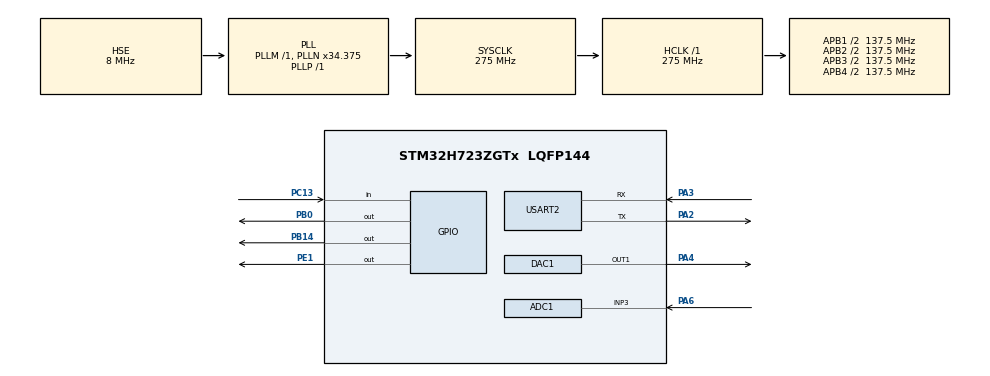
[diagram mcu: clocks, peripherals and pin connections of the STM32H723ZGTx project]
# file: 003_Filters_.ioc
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ADC1.Channel-3\#ChannelRegularConversion=ADC_CHANNEL_3
ADC1.ClockPrescaler=ADC_CLOCK_ASYNC_DIV2
ADC1.ContinuousConvMode=ENABLE
ADC1.ConversionDataManagement=ADC_CONVERSIONDATA_DMA_CIRCULAR
ADC1.EnableInjectedConversion=DISABLE
ADC1.EnableRegularConversion=ENABLE
ADC1.ExternalTrigConv=ADC_EXTERNALTRIG_T4_TRGO
ADC1.NbrOfConversionFlag=1
ADC1.OffsetNumber-3\#ChannelRegularConversion=ADC_OFFSET_NONE
ADC1.OffsetSignedSaturation-3\#ChannelRegularConversion=DISABLE
ADC1.OversamplingMode=DISABLE
ADC1.Rank-3\#ChannelRegularConversion=1
ADC1.Ratio=1
ADC1.Resolution=ADC_RESOLUTION_12B
ADC1.SamplingTime-3\#ChannelRegularConversion=ADC_SAMPLETIME_64CYCLES_5
ADC1.master=1
CORTEX_M7.CPU_DCache=Disabled
CORTEX_M7.MPU_Control=__NULL
CORTEX_M7.default_mode_Activation=1
DAC1.DAC_Channel-DAC_OUT1=DAC_CHANNEL_1
DAC1.DAC_Trigger-DAC_OUT1=DAC_TRIGGER_T8_TRGO
DAC1.TriangleAmplitude-DAC_OUT1=DAC_TRIANGLEAMPLITUDE_1023
DAC1.WaveGeneration-DAC_OUT1=TriangleWaveGeneration
Dma.ADC1.0.Direction=DMA_PERIPH_TO_MEMORY
Dma.ADC1.0.EventEnable=DISABLE
Dma.ADC1.0.FIFOMode=DMA_FIFOMODE_DISABLE
Dma.ADC1.0.Instance=DMA1_Stream0
Dma.ADC1.0.MemDataAlignment=DMA_MDATAALIGN_HALFWORD
Dma.ADC1.0.MemInc=DMA_MINC_ENABLE
Dma.ADC1.0.Mode=DMA_CIRCULAR
Dma.ADC1.0.PeriphDataAlignment=DMA_PDATAALIGN_HALFWORD
Dma.ADC1.0.PeriphInc=DMA_PINC_DISABLE
Dma.ADC1.0.Polarity=HAL_DMAMUX_REQ_GEN_RISING
Dma.ADC1.0.Priority=DMA_PRIORITY_LOW
Dma.ADC1.0.RequestNumber=1
Dma.ADC1.0.SignalID=NONE
Dma.ADC1.0.SyncEnable=DISABLE
Dma.ADC1.0.SyncPolarity=HAL_DMAMUX_SYNC_NO_EVENT
Dma.ADC1.0.SyncRequestNumber=1
Dma.ADC1.0.SyncSignalID=NONE
Dma.DAC1_CH1.1.Direction=DMA_MEMORY_TO_PERIPH
Dma.DAC1_CH1.1.EventEnable=DISABLE
Dma.DAC1_CH1.1.FIFOMode=DMA_FIFOMODE_DISABLE
Dma.DAC1_CH1.1.Instance=DMA1_Stream1
Dma.DAC1_CH1.1.MemDataAlignment=DMA_MDATAALIGN_BYTE
Dma.DAC1_CH1.1.MemInc=DMA_MINC_ENABLE
Dma.DAC1_CH1.1.Mode=DMA_CIRCULAR
Dma.DAC1_CH1.1.PeriphDataAlignment=DMA_PDATAALIGN_BYTE
Dma.DAC1_CH1.1.PeriphInc=DMA_PINC_DISABLE
Dma.DAC1_CH1.1.Polarity=HAL_DMAMUX_REQ_GEN_RISING
Dma.DAC1_CH1.1.Priority=DMA_PRIORITY_LOW
Dma.DAC1_CH1.1.RequestNumber=1
Dma.DAC1_CH1.1.SignalID=NONE
Dma.DAC1_CH1.1.SyncEnable=DISABLE
Dma.DAC1_CH1.1.SyncPolarity=HAL_DMAMUX_SYNC_NO_EVENT
Dma.DAC1_CH1.1.SyncRequestNumber=1
Dma.DAC1_CH1.1.SyncSignalID=NONE
Dma.Request0=ADC1
Dma.Request1=DAC1_CH1
Mcu.Family=STM32H7
Mcu.Name=STM32H723ZGTx
Mcu.Package=LQFP144
NUCLEO-H723ZG.BUTTON=1
NUCLEO-H723ZG.LD1=true
NUCLEO-H723ZG.LD2=true
NUCLEO-H723ZG.LD3=true
NUCLEO-H723ZG.VCP=true
NVIC.ADC_IRQn=true\:0\:0\:false\:false\:true\:true\:true\:true
NVIC.DMA1_Stream0_IRQn=true\:0\:0\:false\:false\:true\:false\:true\:true
NVIC.DMA1_Stream1_IRQn=true\:0\:0\:false\:false\:true\:false\:true\:true
NVIC.EXTI15_10_IRQn=true\:0\:0\:false\:false\:true\:false\:true\:true
NVIC.PriorityGroup=NVIC_PRIORITYGROUP_4
NVIC.TIM6_DAC_IRQn=true\:0\:0\:false\:false\:true\:true\:true\:true
PA13(JTMS/SWDIO).GPIO_Label=SWDIO
PA13(JTMS/SWDIO).Mode=Trace_Asynchronous_SW
PA13(JTMS/SWDIO).Signal=DEBUG_JTMS-SWDIO
PA14(JTCK/SWCLK).GPIO_Label=SWCLK
PA14(JTCK/SWCLK).Mode=Trace_Asynchronous_SW
PA14(JTCK/SWCLK).Signal=DEBUG_JTCK-SWCLK
PA2.Mode=Asynchronous
PA2.Signal=USART2_TX
PA3.Mode=Asynchronous
PA3.Signal=USART2_RX
PA4.Signal=COMP_DAC11_group
PA6.Signal=ADCx_INP3
PB0.Signal=GPIO_Output
PB14.Signal=GPIO_Output
PB3(JTDO/TRACESWO).Mode=Trace_Asynchronous_SW
PB3(JTDO/TRACESWO).Signal=DEBUG_JTDO-SWO
PC13.Signal=GPIO_Input
PC14-OSC32_IN.Signal=RCC_OSC32_IN
PC15-OSC32_OUT.Signal=RCC_OSC32_OUT
PD8.Signal=USART3_TX
PD9.Signal=USART3_RX
PE1.Signal=GPIO_Output
PH0-OSC_IN.Mode=HSE-External-Oscillator
PH0-OSC_IN.Signal=RCC_OSC_IN
PH1-OSC_OUT.Mode=HSE-External-Oscillator
PH1-OSC_OUT.Signal=RCC_OSC_OUT
ProjectManager.HeapSize=0x200
ProjectManager.StackSize=0x400
ProjectManager.TargetToolchain=STM32CubeIDE
RCC.ADCFreq_Value=50000000
RCC.APB1Freq_Value=137500000
RCC.APB2Freq_Value=137500000
RCC.APB3Freq_Value=137500000
RCC.APB4Freq_Value=137500000
RCC.CortexFreq_Value=275000000
RCC.D1PPRE=RCC_APB3_DIV2
RCC.D2PPRE1=RCC_APB1_DIV2
RCC.D2PPRE2=RCC_APB2_DIV2
RCC.D3PPRE=RCC_APB4_DIV2
RCC.DIVM1=1
RCC.DIVM2=1
RCC.DIVN1=34
RCC.DIVN2=25
RCC.DIVP1=1
RCC.DIVP2=4
RCC.DIVQ1=4
RCC.HCLKFreq_Value=275000000
RCC.HSE_VALUE=8000000
RCC.PLL2FRACN=0
RCC.PLLFRACN=3072
RCC.PLLSourceVirtual=RCC_PLLSOURCE_HSE
RCC.SYSCLKFreq_VALUE=275000000
RCC.SYSCLKSource=RCC_SYSCLKSOURCE_PLLCLK
RCC.USBCLockSelection=RCC_USBCLKSOURCE_HSI48
RCC.USBFreq_Value=48000000
SH.ADCx_INP3.0=ADC1_INP3,IN3-Single-Ended
SH.COMP_DAC11_group.0=DAC1_OUT1,DAC_OUT1
TIM4.Period=2-1
TIM4.Prescaler=2750-1
TIM4.TIM_MasterOutputTrigger=TIM_TRGO_UPDATE
TIM6.Period=20-1
TIM6.Prescaler=2750-1
TIM6.TIM_MasterOutputTrigger=TIM_TRGO_RESET
TIM8.Period=100-1
TIM8.Prescaler=2750-1
TIM8.TIM_MasterOutputTrigger=TIM_TRGO_UPDATE
USART2.VirtualMode-Asynchronous=VM_ASYNC
VP_MEMORYMAP_VS_MEMORYMAP.Mode=CurAppReg
VP_NUCLEO-H723ZG_VS_BSP_COMMON.Mode=COMMON
VP_TIM4_VS_ClockSourceINT.Mode=Internal
VP_TIM6_VS_ClockSourceINT.Mode=Enable_Timer
VP_TIM8_VS_ClockSourceINT.Mode=Internal
board=NUCLEO-H723ZG

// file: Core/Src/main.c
/* USER CODE BEGIN Header */
/**
  ******************************************************************************
  * @file           : main.c
  * @brief          : Main program body
  ******************************************************************************
  * @attention
  *
  * Copyright (c) 2025 STMicroelectronics.
  * All rights reserved.
  *
  * This software is licensed under terms that can be found in the LICENSE file
  * in the root directory of this software component.
  * If no LICENSE file comes with this software, it is provided AS-IS.
  *
  ******************************************************************************
  */
/* USER CODE END Header */
#include "main.h"

/* USER CODE BEGIN Includes */
#include"stdbool.h"
#include"string.h"
#include "../Filters/FIR/FIR.h"

/* USER CODE END Includes */

COM_InitTypeDef BspCOMInit;
ADC_HandleTypeDef hadc1;
DMA_HandleTypeDef hdma_adc1;

DAC_HandleTypeDef hdac1;
DMA_HandleTypeDef hdma_dac1_ch1;

TIM_HandleTypeDef htim4;
TIM_HandleTypeDef htim6;
TIM_HandleTypeDef htim8;

UART_HandleTypeDef huart2;

void SystemClock_Config(void);
static void MX_GPIO_Init(void);
static void MX_DMA_Init(void);
static void MX_ADC1_Init(void);
static void MX_USART2_UART_Init(void);
static void MX_DAC1_Init(void);
static void MX_TIM8_Init(void);
static void MX_TIM6_Init(void);
static void MX_TIM4_Init(void);
/* USER CODE BEGIN PFP */
/*video konusu hizlama onemi
 * dtcm rame etkisi */
/* USER CODE END PFP */

/* USER CODE BEGIN 0 */

volatile uint16_t adc_data;
volatile uint8_t dataReady_flag = 0xff;

FIR_t adc_Filter;

void DAC_Triangle_Start(void)
{
	// DAC ayarları

	HAL_DAC_Start(&hdac1, DAC_CHANNEL_1);
	HAL_DACEx_TriangleWaveGenerate(&hdac1, DAC_CHANNEL_1, DAC_TRIANGLEAMPLITUDE_1023);
	HAL_DAC_Start(&hdac1, DAC_CHANNEL_1);

	//1khz
	HAL_TIM_Base_Start(&htim8);
	__DSB();
	__DMB();
}

void ADC_Read_Start(void)
{
	HAL_ADCEx_Calibration_Start(&hadc1, ADC_CALIB_OFFSET, ADC_SINGLE_ENDED);
	HAL_ADCEx_Calibration_Start(&hadc1, ADC_CALIB_OFFSET_LINEARITY,	ADC_SINGLE_ENDED);
	HAL_Delay(1000);

	HAL_ADC_Start_DMA(&hadc1, (uint32_t*) &adc_data, sizeof(adc_data));
	__HAL_DMA_DISABLE_IT(&hdma_adc1, DMA_IT_HT);
	//50 khz Fs
	HAL_TIM_Base_Start(&htim4);
	__DSB();
	__DMB();
}

/* USER CODE END 0 */

int main(void)
{

  /* MCU Configuration--------------------------------------------------------*/

  /* Reset of all peripherals, Initializes the Flash interface and the Systick. */
  HAL_Init();

  /* Configure the system clock */
  SystemClock_Config();

  /* Initialize all configured peripherals */
  MX_GPIO_Init();
  MX_DMA_Init();
  MX_ADC1_Init();
  MX_USART2_UART_Init();
  MX_DAC1_Init();
  MX_TIM8_Init();
  MX_TIM6_Init();
  MX_TIM4_Init();
  /* USER CODE BEGIN 2 */

	HAL_TIM_Base_Start_IT(&htim6);
	ADC_Read_Start();
	DAC_Triangle_Start();

  /* USER CODE END 2 */

  /* Initialize leds */
  BSP_LED_Init(LED_GREEN);
  BSP_LED_Init(LED_YELLOW);
  BSP_LED_Init(LED_RED);

  /* Initialize USER push-button, will be used to trigger an interrupt each time it's pressed.*/
  BSP_PB_Init(BUTTON_USER, BUTTON_MODE_EXTI);

  /* Initialize COM1 port (115200, 8 bits (7-bit data + 1 stop bit), no parity */
  BspCOMInit.BaudRate   = 115200;
  BspCOMInit.WordLength = COM_WORDLENGTH_8B;
  BspCOMInit.StopBits   = COM_STOPBITS_1;
  BspCOMInit.Parity     = COM_PARITY_NONE;
  BspCOMInit.HwFlowCtl  = COM_HWCONTROL_NONE;
  if (BSP_COM_Init(COM1, &BspCOMInit) != BSP_ERROR_NONE)
  {
    Error_Handler();
  }

  /* Infinite loop */
  while (1)
  {

  }
}

void SystemClock_Config(void)
{
  RCC_OscInitTypeDef RCC_OscInitStruct = {0};
  RCC_ClkInitTypeDef RCC_ClkInitStruct = {0};

  /** Supply configuration update enable
  */
  HAL_PWREx_ConfigSupply(PWR_LDO_SUPPLY);

  /** Configure the main internal regulator output voltage
  */
  __HAL_PWR_VOLTAGESCALING_CONFIG(PWR_REGULATOR_VOLTAGE_SCALE0);

  while(!__HAL_PWR_GET_FLAG(PWR_FLAG_VOSRDY)) {}

  /** Initializes the RCC Oscillators according to the specified parameters
  * in the RCC_OscInitTypeDef structure.
  */
  RCC_OscInitStruct.OscillatorType = RCC_OSCILLATORTYPE_HSE;
  RCC_OscInitStruct.HSEState = RCC_HSE_ON;
  RCC_OscInitStruct.PLL.PLLState = RCC_PLL_ON;
  RCC_OscInitStruct.PLL.PLLSource = RCC_PLLSOURCE_HSE;
  RCC_OscInitStruct.PLL.PLLM = 1;
  RCC_OscInitStruct.PLL.PLLN = 34;
  RCC_OscInitStruct.PLL.PLLP = 1;
  RCC_OscInitStruct.PLL.PLLQ = 4;
  RCC_OscInitStruct.PLL.PLLR = 2;
  RCC_OscInitStruct.PLL.PLLRGE = RCC_PLL1VCIRANGE_3;
  RCC_OscInitStruct.PLL.PLLVCOSEL = RCC_PLL1VCOWIDE;
  RCC_OscInitStruct.PLL.PLLFRACN = 3072;
  if (HAL_RCC_OscConfig(&RCC_OscInitStruct) != HAL_OK)
  {
    Error_Handler();
  }

  /** Initializes the CPU, AHB and APB buses clocks
  */
  RCC_ClkInitStruct.ClockType = RCC_CLOCKTYPE_HCLK|RCC_CLOCKTYPE_SYSCLK
                              |RCC_CLOCKTYPE_PCLK1|RCC_CLOCKTYPE_PCLK2
                              |RCC_CLOCKTYPE_D3PCLK1|RCC_CLOCKTYPE_D1PCLK1;
  RCC_ClkInitStruct.SYSCLKSource = RCC_SYSCLKSOURCE_PLLCLK;
  RCC_ClkInitStruct.SYSCLKDivider = RCC_SYSCLK_DIV1;
  RCC_ClkInitStruct.AHBCLKDivider = RCC_HCLK_DIV1;
  RCC_ClkInitStruct.APB3CLKDivider = RCC_APB3_DIV2;
  RCC_ClkInitStruct.APB1CLKDivider = RCC_APB1_DIV2;
  RCC_ClkInitStruct.APB2CLKDivider = RCC_APB2_DIV2;
  RCC_ClkInitStruct.APB4CLKDivider = RCC_APB4_DIV2;

  if (HAL_RCC_ClockConfig(&RCC_ClkInitStruct, FLASH_LATENCY_3) != HAL_OK)
  {
    Error_Handler();
  }
}

static void MX_ADC1_Init(void)
{

  ADC_MultiModeTypeDef multimode = {0};
  ADC_ChannelConfTypeDef sConfig = {0};

  /** Common config
  */
  hadc1.Instance = ADC1;
  hadc1.Init.ClockPrescaler = ADC_CLOCK_ASYNC_DIV2;
  hadc1.Init.Resolution = ADC_RESOLUTION_12B;
  hadc1.Init.ScanConvMode = ADC_SCAN_DISABLE;
  hadc1.Init.EOCSelection = ADC_EOC_SINGLE_CONV;
  hadc1.Init.LowPowerAutoWait = DISABLE;
  hadc1.Init.ContinuousConvMode = ENABLE;
  hadc1.Init.NbrOfConversion = 1;
  hadc1.Init.DiscontinuousConvMode = DISABLE;
  hadc1.Init.ExternalTrigConv = ADC_EXTERNALTRIG_T4_TRGO;
  hadc1.Init.ExternalTrigConvEdge = ADC_EXTERNALTRIGCONVEDGE_RISING;
  hadc1.Init.ConversionDataManagement = ADC_CONVERSIONDATA_DMA_CIRCULAR;
  hadc1.Init.Overrun = ADC_OVR_DATA_PRESERVED;
  hadc1.Init.LeftBitShift = ADC_LEFTBITSHIFT_NONE;
  hadc1.Init.OversamplingMode = DISABLE;
  hadc1.Init.Oversampling.Ratio = 1;
  if (HAL_ADC_Init(&hadc1) != HAL_OK)
  {
    Error_Handler();
  }

  /** Configure the ADC multi-mode
  */
  multimode.Mode = ADC_MODE_INDEPENDENT;
  if (HAL_ADCEx_MultiModeConfigChannel(&hadc1, &multimode) != HAL_OK)
  {
    Error_Handler();
  }

  /** Configure Regular Channel
  */
  sConfig.Channel = ADC_CHANNEL_3;
  sConfig.Rank = ADC_REGULAR_RANK_1;
  sConfig.SamplingTime = ADC_SAMPLETIME_64CYCLES_5;
  sConfig.SingleDiff = ADC_SINGLE_ENDED;
  sConfig.OffsetNumber = ADC_OFFSET_NONE;
  sConfig.Offset = 0;
  sConfig.OffsetSignedSaturation = DISABLE;
  if (HAL_ADC_ConfigChannel(&hadc1, &sConfig) != HAL_OK)
  {
    Error_Handler();
  }

}

static void MX_DAC1_Init(void)
{

  DAC_ChannelConfTypeDef sConfig = {0};

  /** DAC Initialization
  */
  hdac1.Instance = DAC1;
  if (HAL_DAC_Init(&hdac1) != HAL_OK)
  {
    Error_Handler();
  }

  /** DAC channel OUT1 config
  */
  sConfig.DAC_SampleAndHold = DAC_SAMPLEANDHOLD_DISABLE;
  sConfig.DAC_Trigger = DAC_TRIGGER_T8_TRGO;
  sConfig.DAC_OutputBuffer = DAC_OUTPUTBUFFER_ENABLE;
  sConfig.DAC_ConnectOnChipPeripheral = DAC_CHIPCONNECT_DISABLE;
  sConfig.DAC_UserTrimming = DAC_TRIMMING_FACTORY;
  if (HAL_DAC_ConfigChannel(&hdac1, &sConfig, DAC_CHANNEL_1) != HAL_OK)
  {
    Error_Handler();
  }

  /** Configure Triangle wave generation on DAC OUT1
  */
  if (HAL_DACEx_TriangleWaveGenerate(&hdac1, DAC_CHANNEL_1, DAC_TRIANGLEAMPLITUDE_1023) != HAL_OK)
  {
    Error_Handler();
  }

}

static void MX_TIM4_Init(void)
{

  TIM_ClockConfigTypeDef sClockSourceConfig = {0};
  TIM_MasterConfigTypeDef sMasterConfig = {0};

  htim4.Instance = TIM4;
  htim4.Init.Prescaler = 2750-1;
  htim4.Init.CounterMode = TIM_COUNTERMODE_UP;
  htim4.Init.Period = 2-1;
  htim4.Init.ClockDivision = TIM_CLOCKDIVISION_DIV1;
  htim4.Init.AutoReloadPreload = TIM_AUTORELOAD_PRELOAD_DISABLE;
  if (HAL_TIM_Base_Init(&htim4) != HAL_OK)
  {
    Error_Handler();
  }
  sClockSourceConfig.ClockSource = TIM_CLOCKSOURCE_INTERNAL;
  if (HAL_TIM_ConfigClockSource(&htim4, &sClockSourceConfig) != HAL_OK)
  {
    Error_Handler();
  }
  sMasterConfig.MasterOutputTrigger = TIM_TRGO_UPDATE;
  sMasterConfig.MasterSlaveMode = TIM_MASTERSLAVEMODE_DISABLE;
  if (HAL_TIMEx_MasterConfigSynchronization(&htim4, &sMasterConfig) != HAL_OK)
  {
    Error_Handler();
  }

}

static void MX_TIM6_Init(void)
{

  TIM_MasterConfigTypeDef sMasterConfig = {0};

  htim6.Instance = TIM6;
  htim6.Init.Prescaler = 2750-1;
  htim6.Init.CounterMode = TIM_COUNTERMODE_UP;
  htim6.Init.Period = 200-1;
  htim6.Init.AutoReloadPreload = TIM_AUTORELOAD_PRELOAD_DISABLE;
  if (HAL_TIM_Base_Init(&htim6) != HAL_OK)
  {
    Error_Handler();
  }
  sMasterConfig.MasterOutputTrigger = TIM_TRGO_RESET;
  sMasterConfig.MasterSlaveMode = TIM_MASTERSLAVEMODE_DISABLE;
  if (HAL_TIMEx_MasterConfigSynchronization(&htim6, &sMasterConfig) != HAL_OK)
  {
    Error_Handler();
  }

}

static void MX_TIM8_Init(void)
{

  TIM_ClockConfigTypeDef sClockSourceConfig = {0};
  TIM_MasterConfigTypeDef sMasterConfig = {0};

  htim8.Instance = TIM8;
  htim8.Init.Prescaler = 2750-1;
  htim8.Init.CounterMode = TIM_COUNTERMODE_UP;
  htim8.Init.Period = 100-1;
  htim8.Init.ClockDivision = TIM_CLOCKDIVISION_DIV1;
  htim8.Init.RepetitionCounter = 0;
  htim8.Init.AutoReloadPreload = TIM_AUTORELOAD_PRELOAD_DISABLE;
  if (HAL_TIM_Base_Init(&htim8) != HAL_OK)
  {
    Error_Handler();
  }
  sClockSourceConfig.ClockSource = TIM_CLOCKSOURCE_INTERNAL;
  if (HAL_TIM_ConfigClockSource(&htim8, &sClockSourceConfig) != HAL_OK)
  {
    Error_Handler();
  }
  sMasterConfig.MasterOutputTrigger = TIM_TRGO_UPDATE;
  sMasterConfig.MasterOutputTrigger2 = TIM_TRGO2_RESET;
  sMasterConfig.MasterSlaveMode = TIM_MASTERSLAVEMODE_DISABLE;
  if (HAL_TIMEx_MasterConfigSynchronization(&htim8, &sMasterConfig) != HAL_OK)
  {
    Error_Handler();
  }

}

static void MX_USART2_UART_Init(void)
{

  huart2.Instance = USART2;
  huart2.Init.BaudRate = 115200;
  huart2.Init.WordLength = UART_WORDLENGTH_8B;
  huart2.Init.StopBits = UART_STOPBITS_1;
  huart2.Init.Parity = UART_PARITY_NONE;
  huart2.Init.Mode = UART_MODE_TX_RX;
  huart2.Init.HwFlowCtl = UART_HWCONTROL_NONE;
  huart2.Init.OverSampling = UART_OVERSAMPLING_16;
  huart2.Init.OneBitSampling = UART_ONE_BIT_SAMPLE_DISABLE;
  huart2.Init.ClockPrescaler = UART_PRESCALER_DIV1;
  huart2.AdvancedInit.AdvFeatureInit = UART_ADVFEATURE_NO_INIT;
  if (HAL_UART_Init(&huart2) != HAL_OK)
  {
    Error_Handler();
  }
  if (HAL_UARTEx_SetTxFifoThreshold(&huart2, UART_TXFIFO_THRESHOLD_1_8) != HAL_OK)
  {
    Error_Handler();
  }
  if (HAL_UARTEx_SetRxFifoThreshold(&huart2, UART_RXFIFO_THRESHOLD_1_8) != HAL_OK)
  {
    Error_Handler();
  }
  if (HAL_UARTEx_DisableFifoMode(&huart2) != HAL_OK)
  {
    Error_Handler();
  }

}

static void MX_DMA_Init(void)
{

  /* DMA controller clock enable */
  __HAL_RCC_DMA1_CLK_ENABLE();

  /* DMA interrupt init */
  /* DMA1_Stream0_IRQn interrupt configuration */
  HAL_NVIC_SetPriority(DMA1_Stream0_IRQn, 0, 0);
  HAL_NVIC_EnableIRQ(DMA1_Stream0_IRQn);
  /* DMA1_Stream1_IRQn interrupt configuration */
  HAL_NVIC_SetPriority(DMA1_Stream1_IRQn, 0, 0);
  HAL_NVIC_EnableIRQ(DMA1_Stream1_IRQn);

}

static void MX_GPIO_Init(void)
{

  /* GPIO Ports Clock Enable */
  __HAL_RCC_GPIOC_CLK_ENABLE();
  __HAL_RCC_GPIOH_CLK_ENABLE();
  __HAL_RCC_GPIOA_CLK_ENABLE();
  __HAL_RCC_GPIOB_CLK_ENABLE();

}

/* USER CODE BEGIN 4 */

//50khz
void HAL_ADC_ConvCpltCallback(ADC_HandleTypeDef *hadc)
{

    if(hadc->Instance == ADC1)
    {

    	fir_apply(&adc_Filter, (float) adc_data);
    	dataReady_flag = 1;

    }

}

//100hz
 void HAL_TIM_PeriodElapsedCallback(TIM_HandleTypeDef *htim)
{
	 if( htim->Instance == TIM6 ){

		 if ( dataReady_flag ) {
			printf("%u, %f\r\n", adc_data, adc_Filter.output_f);
		}
	 }

}

/* USER CODE END 4 */

void Error_Handler(void)
{
  __disable_irq();
  while (1)
  {
  }
}
